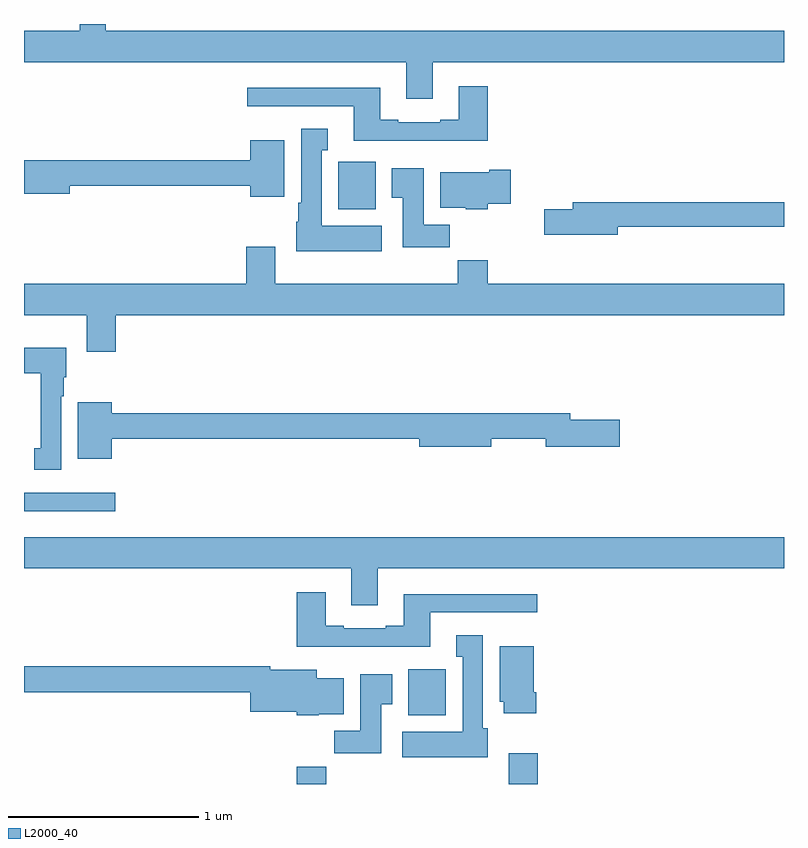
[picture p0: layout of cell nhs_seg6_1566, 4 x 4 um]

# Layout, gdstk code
import gdstk
lib = gdstk.Library(unit=1e-6, precision=1e-09)
def R(c, l, rs):  # rectangles x0, y0, x1, y1
    for r in rs: c.add(gdstk.rectangle(r[:2], r[2:], *l))
def P(c, l, *ps):  # polygons
    for p in ps: c.add(gdstk.Polygon(p, *l))
L2000_40 = (2000, 40)

nhs_seg6_1566 = lib.new_cell('nhs_seg6_1566')
R(nhs_seg6_1566, L2000_40, [(206.435,979.5,206.591,979.592), (207.551,979.5,207.704,979.663), (207.023,979.862,207.22,980.104), (205,980.936,205.48,981.033), (206.655,982.526,206.851,982.776)])
P(nhs_seg6_1566, L2000_40, [(207.151,983.3),(209,983.3),(209,983.464),(205.43,983.464),(205.43,983.5),(205.294,983.5),(205.294,983.464),(205,983.464),(205,983.3),(207.011,983.3),(207.011,983.106),(207.151,983.106)],
  [(207.44,983.173),(207.287,983.173),(207.287,982.996),(207.191,982.996),(207.191,982.983),(206.971,982.983),(206.971,982.996),(206.875,982.996),(206.875,983.164),(206.175,983.164),(206.175,983.067),(206.735,983.067),(206.735,982.886),(207.44,982.886)],
  [(206.884,982.438),(206.566,982.438),(206.566,982.835),(206.599,982.835),(206.599,982.948),(206.459,982.948),(206.459,982.558),(206.444,982.558),(206.444,982.458),(206.432,982.458),(206.432,982.304),(206.884,982.304)],
  [(206.371,982.888),(206.192,982.888),(206.192,982.784),(205.001,982.784),(205.001,982.748),(205,982.748),(205,982.606),(205.24,982.606),(205.24,982.648),(206.192,982.648),(206.192,982.592),(206.371,982.592)],
  [(207.242,982.444),(207.103,982.444),(207.103,982.741),(206.936,982.741),(206.936,982.585),(206.993,982.585),(206.993,982.326),(207.242,982.326)],
  [(207.442,982.555),(207.562,982.555),(207.562,982.733),(207.449,982.733),(207.449,982.72),(207.191,982.72),(207.191,982.532),(207.324,982.532),(207.324,982.526),(207.442,982.526)],
  [(208.126,982.434),(209,982.434),(209,982.562),(207.887,982.562),(207.887,982.526),(207.738,982.526),(207.738,982.391),(208.126,982.391)],
  [(205.484,981.968),(209,981.968),(209,982.132),(207.44,982.132),(207.44,982.256),(207.283,982.256),(207.283,982.132),(206.323,982.132),(206.323,982.327),(206.171,982.327),(206.171,982.132),(205,982.132),(205,981.968),(205.331,981.968),(205.331,981.774),(205.484,981.774)],
  [(205.195,981.542),(205.21,981.542),(205.21,981.642),(205.222,981.642),(205.222,981.796),(205,981.796),(205,981.662),(205.088,981.662),(205.088,981.266),(205.055,981.266),(205.055,981.153),(205.195,981.153)],
  [(205.462,981.316),(207.08,981.316),(207.08,981.274),(207.46,981.274),(207.46,981.316),(207.746,981.316),(207.746,981.274),(208.135,981.274),(208.135,981.416),(207.874,981.416),(207.874,981.452),(205.462,981.452),(205.462,981.508),(205.283,981.508),(205.283,981.212),(205.462,981.212)],
  [(206.863,980.636),(209,980.636),(209,980.8),(205,980.8),(205,980.636),(206.723,980.636),(206.723,980.442),(206.863,980.442)],
  [(207.139,980.403),(207.7,980.403),(207.7,980.5),(206.999,980.5),(206.999,980.332),(206.903,980.332),(206.903,980.319),(206.683,980.319),(206.683,980.332),(206.587,980.332),(206.587,980.509),(206.435,980.509),(206.435,980.222),(207.139,980.222)],
  [(207.442,979.794),(207.415,979.794),(207.415,980.284),(207.275,980.284),(207.275,980.171),(207.308,980.171),(207.308,979.774),(206.991,979.774),(206.991,979.64),(207.442,979.64)],
  [(207.695,979.984),(207.682,979.984),(207.682,980.224),(207.503,980.224),(207.503,979.932),(207.524,979.932),(207.524,979.872),(207.695,979.872)],
  [(206.55,979.868),(206.683,979.868),(206.683,980.056),(206.542,980.056),(206.542,980.101),(206.296,980.101),(206.296,980.12),(205,980.12),(205,979.984),(206.192,979.984),(206.192,979.88),(206.436,979.88),(206.436,979.862),(206.55,979.862)],
  [(206.881,979.921),(206.938,979.921),(206.938,980.077),(206.771,980.077),(206.771,979.78),(206.632,979.78),(206.632,979.662),(206.881,979.662)])

lib.write_gds('nhs_seg6_1566.gds')
